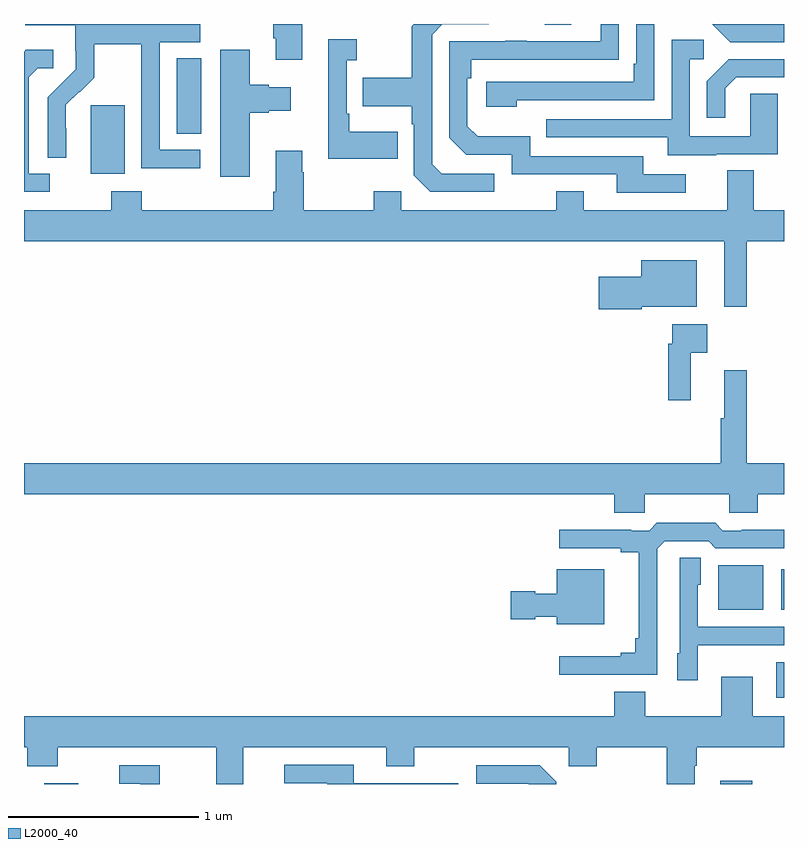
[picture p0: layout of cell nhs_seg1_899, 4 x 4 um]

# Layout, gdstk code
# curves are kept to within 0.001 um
import gdstk
lib = gdstk.Library(unit=1e-6, precision=1e-09)
def R(c, l, rs):  # rectangles x0, y0, x1, y1
    for r in rs: c.add(gdstk.rectangle(r[:2], r[2:], *l))
def P(c, l, *ps):  # polygons
    for p in ps: c.add(gdstk.Polygon(p, *l))
L2000_40 = (2000, 40)

nhs_seg1_899 = lib.new_cell('nhs_seg1_899')
R(nhs_seg1_899, L2000_40, [(159.107,558.199,159.286,558.202), (162.665,558.199,162.833,558.217), (162.959,558.654,163,558.84), (162.653,559.115,162.892,559.351), (162.986,559.115,163,559.33), (159.35,561.41,159.529,561.771), (159.803,561.622,159.934,562.019), (161.741,562.194,161.881,562.199)])
P(nhs_seg1_899, L2000_40, [(161.476,561.411),(161.199,561.411),(161.148,561.462),(161.148,562.143),(161.202,562.197),(161.446,562.197),(161.446,562.199),(161.052,562.199),(161.04,562.187),(161.04,561.915),(160.783,561.915),(160.783,561.767),(161.04,561.767),(161.04,561.671),(161.052,561.671),(161.052,561.402),(161.139,561.315),(161.476,561.315)],
  [(162.484,561.408),(162.259,561.408),(162.259,561.504),(161.664,561.504),(161.664,561.607),(161.387,561.607),(161.334,561.66),(161.334,561.914),(161.354,561.914),(161.354,562.011),(162.131,562.012),(162.131,562.199),(162.035,562.199),(162.035,562.107),(161.645,562.107),(161.645,562.112),(161.533,562.112),(161.533,562.107),(161.238,562.107),(161.238,561.6),(161.328,561.51),(161.568,561.51),(161.568,561.408),(162.119,561.408),(162.119,561.312),(162.484,561.312)],
  [(163,562.199),(162.989,562.199),(162.987,562.197),(162.872,562.197),(162.872,562.199),(162.622,562.199),(162.717,562.104),(163,562.104)],
  [(161.594,561.798),(162.318,561.798),(162.318,562.199),(162.222,562.199),(162.222,561.991),(162.209,561.991),(162.209,561.894),(161.433,561.894),(161.433,561.764),(161.594,561.764)],
  [(160.465,562.199),(160.313,562.199),(160.313,562.123),(160.325,562.123),(160.325,562.011),(160.465,562.011)],
  [(159.928,561.537),(159.714,561.537),(159.714,562.104),(159.928,562.104),(159.928,562.199),(159,562.199),(159,562.197),(159.007,562.197),(159.007,562.193),(159.27,562.193),(159.27,562.059),(159.272,562.059),(159.272,561.962),(159.126,561.814),(159.126,561.496),(159.222,561.496),(159.221,561.773),(159.291,561.843),(159.294,561.84),(159.371,561.917),(159.371,562.092),(159.616,562.092),(159.616,561.868),(159.618,561.868),(159.618,561.439),(159.928,561.439)],
  [(160.967,561.631),(160.711,561.631),(160.711,561.727),(160.698,561.727),(160.698,562.007),(160.75,562.007),(160.75,562.12),(160.601,562.12),(160.601,561.491),(160.967,561.491)],
  [(162.643,561.513),(162.967,561.513),(162.967,561.833),(162.822,561.833),(162.822,561.609),(162.504,561.609),(162.504,562.014),(162.577,562.014),(162.577,562.115),(162.408,562.115),(162.408,561.699),(161.749,561.699),(161.749,561.603),(162.389,561.603),(162.389,561.509),(162.643,561.509)],
  [(160.189,561.731),(160.289,561.731),(160.289,561.743),(160.405,561.743),(160.405,561.865),(160.289,561.865),(160.289,561.878),(160.189,561.878),(160.189,562.063),(160.034,562.063),(160.034,561.396),(160.189,561.396)],
  [(159.136,561.411),(159.025,561.411),(159.025,561.919),(159.072,561.966),(159.154,561.966),(159.154,562.063),(159.01,562.063),(159,562.053),(159,561.315),(159.136,561.315)],
  [(162.691,561.861),(162.748,561.918),(163,561.918),(163,562.014),(162.71,562.014),(162.594,561.898),(162.594,561.705),(162.691,561.705)],
  [(162.803,561.056),(163,561.056),(163,561.22),(162.841,561.22),(162.841,561.428),(162.701,561.428),(162.701,561.22),(161.947,561.22),(161.947,561.319),(161.8,561.319),(161.8,561.22),(160.986,561.22),(160.986,561.319),(160.84,561.319),(160.84,561.22),(160.473,561.22),(160.473,561.419),(160.465,561.419),(160.465,561.532),(160.325,561.532),(160.325,561.316),(160.313,561.316),(160.313,561.22),(159.62,561.22),(159.62,561.319),(159.46,561.319),(159.46,561.22),(159,561.22),(159,561.056),(162.686,561.056),(162.686,560.712),(162.803,560.712)],
  [(162.252,560.711),(162.541,560.711),(162.541,560.956),(162.248,560.956),(162.248,560.869),(162.024,560.869),(162.024,560.699),(162.252,560.699)],
  [(162.509,560.468),(162.595,560.468),(162.595,560.62),(162.411,560.62),(162.411,560.516),(162.391,560.516),(162.391,560.22),(162.509,560.22)],
  [(162.267,559.724),(162.712,559.724),(162.712,559.626),(162.862,559.626),(162.862,559.724),(163,559.724),(163,559.888),(162.803,559.888),(162.803,560.377),(162.686,560.377),(162.686,560.124),(162.667,560.124),(162.667,559.888),(159,559.888),(159,559.724),(162.107,559.724),(162.107,559.626),(162.267,559.626)],
  [(162.333,559.437),(162.372,559.476),(162.603,559.476),(162.639,559.44),(163,559.44),(163,559.538),(162.778,559.538),(162.778,559.533),(162.678,559.533),(162.639,559.573),(162.331,559.573),(162.291,559.533),(162.197,559.533),(162.197,559.538),(161.817,559.538),(161.817,559.44),(162.14,559.44),(162.14,559.418),(162.236,559.418),(162.236,558.967),(162.217,558.967),(162.217,558.89),(162.14,558.89),(162.14,558.871),(161.817,558.871),(161.817,558.774),(162.333,558.774)],
  [(162.546,558.929),(162.863,558.929),(162.863,558.93),(163,558.93),(163,559.026),(162.546,559.026),(162.546,559.248),(162.562,559.248),(162.562,559.391),(162.45,559.391),(162.45,558.888),(162.437,558.888),(162.437,558.744),(162.546,558.744)],
  [(162.055,559.33),(161.804,559.33),(161.804,559.201),(161.691,559.201),(161.691,559.214),(161.562,559.214),(161.562,559.067),(161.691,559.067),(161.691,559.079),(161.804,559.079),(161.804,559.04),(162.055,559.04)],
  [(160.153,558.392),(160.907,558.392),(160.907,558.293),(161.055,558.293),(161.055,558.392),(161.868,558.392),(161.868,558.293),(162.015,558.293),(162.015,558.392),(162.382,558.392),(162.382,558.199),(162.529,558.199),(162.529,558.296),(162.542,558.296),(162.542,558.392),(163,558.392),(163,558.556),(162.835,558.556),(162.835,558.763),(162.671,558.763),(162.671,558.556),(162.271,558.556),(162.271,558.685),(162.107,558.685),(162.107,558.556),(159,558.556),(159,558.392),(159.017,558.392),(159.017,558.293),(159.177,558.293),(159.177,558.392),(160.013,558.392),(160.013,558.199),(160.153,558.199)],
  [(161.286,558.204),(160.735,558.204),(160.735,558.3),(160.371,558.3),(160.371,558.204),(160.595,558.204),(160.595,558.199),(161.286,558.199)],
  [(161.802,558.21),(161.715,558.297),(161.379,558.297),(161.379,558.201),(161.655,558.201),(161.657,558.199),(161.802,558.199)],
  [(159.715,558.297),(159.501,558.297),(159.501,558.201),(159.611,558.201),(159.611,558.199),(159.715,558.199)])

lib.write_gds('nhs_seg1_899.gds')
